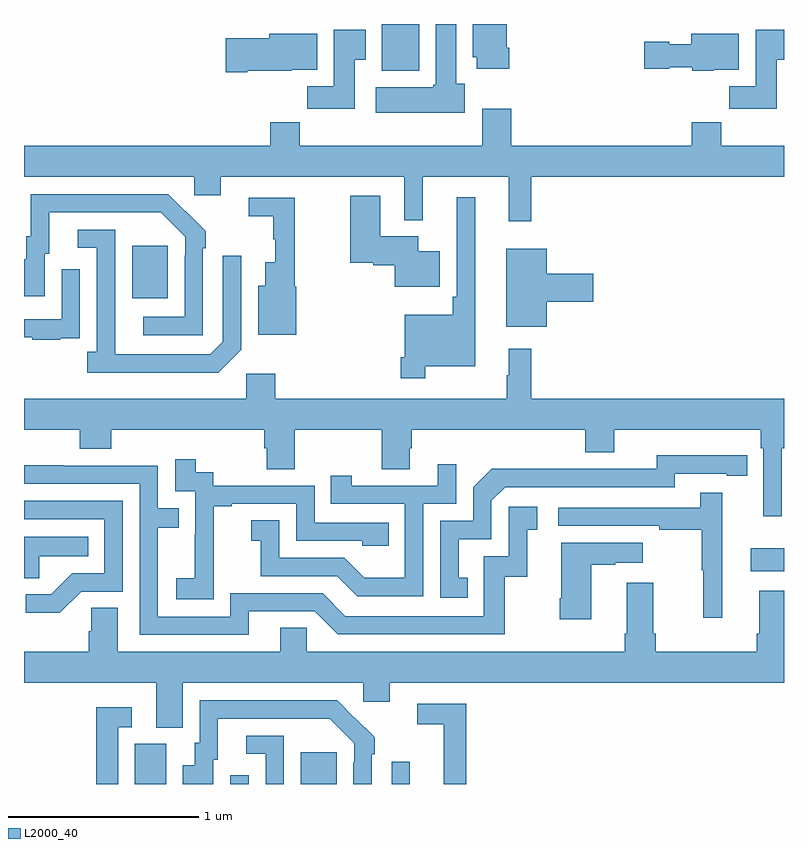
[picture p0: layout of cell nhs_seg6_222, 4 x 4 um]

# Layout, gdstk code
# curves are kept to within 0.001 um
import gdstk
lib = gdstk.Library(unit=1e-6, precision=1e-09)
def R(c, l, rs):  # rectangles x0, y0, x1, y1
    for r in rs: c.add(gdstk.rectangle(r[:2], r[2:], *l))
def P(c, l, *ps):  # polygons
    for p in ps: c.add(gdstk.Polygon(p, *l))
L2000_40 = (2000, 40)

nhs_seg6_222 = lib.new_cell('nhs_seg6_222')
R(nhs_seg6_222, L2000_40, [(123.584,917.5,123.748,917.712), (124.086,917.5,124.182,917.545), (124.457,917.5,124.645,917.668), (124.935,917.5,125.031,917.617), (126.825,918.62,127,918.742), (123.569,920.057,123.757,920.332), (124.883,921.254,125.079,921.5)])
P(nhs_seg6_222, L2000_40, [(125.32,921.186),(125.275,921.186),(125.275,921.5),(125.168,921.5),(125.168,921.18),(125.155,921.18),(125.155,921.166),(124.851,921.166),(124.851,921.032),(125.32,921.032)],
  [(125.555,921.376),(125.542,921.376),(125.542,921.5),(125.363,921.5),(125.363,921.324),(125.384,921.324),(125.384,921.264),(125.555,921.264)],
  [(124.741,921.313),(124.798,921.313),(124.798,921.469),(124.631,921.469),(124.631,921.172),(124.492,921.172),(124.492,921.054),(124.741,921.054)],
  [(126.961,921.313),(127,921.313),(127,921.469),(126.851,921.469),(126.851,921.172),(126.712,921.172),(126.712,921.054),(126.961,921.054)],
  [(126.63,921.26),(126.763,921.26),(126.763,921.448),(126.512,921.448),(126.512,921.394),(126.396,921.394),(126.396,921.407),(126.264,921.407),(126.264,921.265),(126.396,921.265),(126.396,921.272),(126.516,921.272),(126.516,921.254),(126.63,921.254)],
  [(124.174,921.254),(124.41,921.254),(124.41,921.26),(124.543,921.26),(124.543,921.448),(124.292,921.448),(124.292,921.425),(124.062,921.425),(124.062,921.247),(124.174,921.247)],
  [(125.669,920.696),(127,920.696),(127,920.86),(126.671,920.86),(126.671,920.984),(126.515,920.984),(126.515,920.86),(125.564,920.86),(125.564,921.055),(125.411,921.055),(125.411,920.86),(124.451,920.86),(124.451,920.984),(124.295,920.984),(124.295,920.86),(123,920.86),(123,920.696),(123.897,920.696),(123.897,920.598),(124.036,920.598),(124.036,920.696),(125.001,920.696),(125.001,920.468),(125.099,920.468),(125.099,920.696),(125.552,920.696),(125.552,920.463),(125.669,920.463)],
  [(123.942,920.321),(123.957,920.321),(123.957,920.409),(123.76,920.604),(123.036,920.604),(123.036,920.382),(123.011,920.382),(123.011,920.263),(123,920.263),(123,920.067),(123.109,920.067),(123.109,920.292),(123.133,920.292),(123.133,920.508),(123.721,920.508),(123.849,920.379),(123.849,920.279),(123.846,920.279),(123.846,919.959),(123.627,919.959),(123.627,919.863),(123.942,919.863)],
  [(125.188,920.305),(125.074,920.305),(125.074,920.383),(124.876,920.383),(124.876,920.596),(124.718,920.596),(124.718,920.243),(124.839,920.243),(124.839,920.231),(124.952,920.231),(124.952,920.117),(125.188,920.117)],
  [(125.113,919.7),(125.374,919.7),(125.374,920.587),(125.277,920.587),(125.277,920.065),(125.257,920.065),(125.257,919.969),(125.004,919.969),(125.004,919.747),(124.984,919.747),(124.984,919.635),(125.113,919.635)],
  [(124.433,920.118),(124.424,920.118),(124.424,920.586),(124.182,920.586),(124.182,920.488),(124.311,920.488),(124.311,920.367),(124.322,920.367),(124.322,920.245),(124.271,920.245),(124.271,920.122),(124.232,920.122),(124.232,919.865),(124.433,919.865)],
  [(124.143,919.785),(124.143,920.281),(124.047,920.281),(124.047,919.827),(123.981,919.761),(123.481,919.761),(123.48,920.418),(123.282,920.418),(123.282,920.322),(123.384,920.322),(123.384,919.774),(123.333,919.774),(123.333,919.664),(124.022,919.664)],
  [(125.752,920.039),(125.995,920.039),(125.995,920.186),(125.752,920.186),(125.752,920.317),(125.537,920.317),(125.537,919.907),(125.752,919.907)],
  [(123.191,919.845),(123.293,919.845),(123.293,919.954),(123.294,919.954),(123.294,920.209),(123.198,920.209),(123.198,919.947),(123,919.947),(123,919.851),(123.043,919.851),(123.043,919.839),(123.191,919.839)],
  [(126.988,919.268),(127,919.268),(127,919.528),(125.669,919.528),(125.669,919.792),(125.552,919.792),(125.552,919.652),(125.541,919.652),(125.541,919.528),(124.322,919.528),(124.322,919.66),(124.17,919.66),(124.17,919.528),(123,919.528),(123,919.364),(123.293,919.364),(123.293,919.265),(123.458,919.265),(123.458,919.364),(124.265,919.364),(124.265,919.266),(124.277,919.266),(124.277,919.156),(124.425,919.156),(124.425,919.364),(124.882,919.364),(124.882,919.156),(125.029,919.156),(125.029,919.266),(125.042,919.266),(125.042,919.364),(125.954,919.364),(125.954,919.247),(126.106,919.247),(126.106,919.364),(126.878,919.364),(126.878,919.268),(126.891,919.268),(126.891,918.909),(126.988,918.909)],
  [(125.336,918.585),(125.287,918.585),(125.287,918.789),(125.46,918.789),(125.46,918.99),(125.532,919.062),(126.426,919.062),(126.426,919.134),(126.698,919.134),(126.698,919.122),(126.806,919.122),(126.806,919.23),(126.33,919.231),(126.33,919.158),(125.87,919.158),(125.87,919.16),(125.462,919.16),(125.364,919.062),(125.364,918.885),(125.19,918.885),(125.19,918.48),(125.336,918.48)],
  [(123.999,918.679),(123.998,918.679),(123.998,918.963),(124.093,918.963),(124.093,918.975),(124.434,918.975),(124.434,918.78),(124.779,918.78),(124.779,918.753),(124.919,918.753),(124.919,918.876),(124.53,918.876),(124.53,919.071),(123.996,919.071),(123.996,919.14),(123.904,919.14),(123.904,919.21),(123.795,919.21),(123.795,919.041),(123.9,919.041),(123.9,918.812),(123.899,918.812),(123.899,918.583),(123.801,918.583),(123.801,918.473),(123.999,918.473)],
  [(125.1,918.975),(125.274,918.975),(125.274,919.183),(125.177,919.183),(125.177,919.071),(124.726,919.071),(124.726,919.123),(124.615,919.123),(124.615,918.975),(125.004,918.975),(125.004,918.586),(124.79,918.586),(124.686,918.69),(124.344,918.69),(124.344,918.889),(124.197,918.889),(124.197,918.779),(124.246,918.779),(124.246,918.594),(124.649,918.594),(124.754,918.489),(125.1,918.489)],
  [(124.183,918.408),(124.53,918.408),(124.65,918.288),(125.53,918.288),(125.53,918.591),(125.648,918.591),(125.648,918.837),(125.701,918.837),(125.701,918.958),(125.55,918.958),(125.55,918.699),(125.421,918.699),(125.421,918.384),(124.692,918.384),(124.572,918.504),(124.086,918.504),(124.086,918.381),(123.705,918.381),(123.705,918.85),(123.815,918.85),(123.815,918.951),(123.705,918.951),(123.705,919.176),(123.209,919.176),(123.209,919.178),(123,919.178),(123,919.08),(123.609,919.08),(123.609,918.285),(124.183,918.285)],
  [(126.676,919.033),(126.559,919.033),(126.559,918.954),(125.811,918.954),(125.811,918.858),(126.343,918.858),(126.343,918.838),(126.567,918.838),(126.567,918.624),(126.574,918.624),(126.574,918.375),(126.676,918.375)],
  [(123.3,918.513),(123.519,918.513),(123.519,918.99),(123,918.99),(123,918.894),(123.423,918.894),(123.423,918.609),(123.254,918.609),(123.143,918.498),(123.009,918.498),(123.009,918.401),(123.187,918.401)],
  [(123.081,918.698),(123.338,918.698),(123.338,918.802),(123,918.802),(123,918.583),(123.081,918.583)],
  [(125.986,918.655),(126.113,918.655),(126.113,918.665),(126.256,918.665),(126.256,918.769),(125.828,918.769),(125.828,918.478),(125.821,918.478),(125.821,918.366),(125.986,918.366)],
  [(123.835,918.032),(124.785,918.032),(124.785,917.934),(124.924,917.934),(124.924,918.032),(127,918.032),(127,918.517),(126.869,918.517),(126.869,918.292),(126.857,918.292),(126.857,918.196),(126.326,918.196),(126.326,918.292),(126.313,918.292),(126.313,918.559),(126.173,918.559),(126.173,918.292),(126.161,918.292),(126.161,918.196),(124.488,918.196),(124.488,918.323),(124.349,918.323),(124.349,918.196),(123.493,918.196),(123.493,918.428),(123.354,918.428),(123.354,918.305),(123.341,918.305),(123.341,918.196),(123,918.196),(123,918.032),(123.695,918.032),(123.695,917.797),(123.835,917.797)],
  [(123.997,917.628),(124.021,917.628),(124.021,917.844),(124.609,917.844),(124.737,917.715),(124.737,917.615),(124.734,917.615),(124.734,917.5),(124.83,917.5),(124.83,917.657),(124.845,917.657),(124.845,917.745),(124.648,917.94),(123.924,917.94),(123.924,917.718),(123.899,917.718),(123.899,917.599),(123.836,917.599),(123.836,917.5),(123.997,917.5)],
  [(125.327,917.922),(125.07,917.922),(125.07,917.814),(125.21,917.814),(125.21,917.5),(125.327,917.5)],
  [(123.495,917.799),(123.568,917.799),(123.568,917.905),(123.379,917.905),(123.379,917.5),(123.495,917.5)],
  [(124.368,917.754),(124.17,917.754),(124.17,917.658),(124.272,917.658),(124.272,917.5),(124.368,917.5)])

lib.write_gds('nhs_seg6_222.gds')
